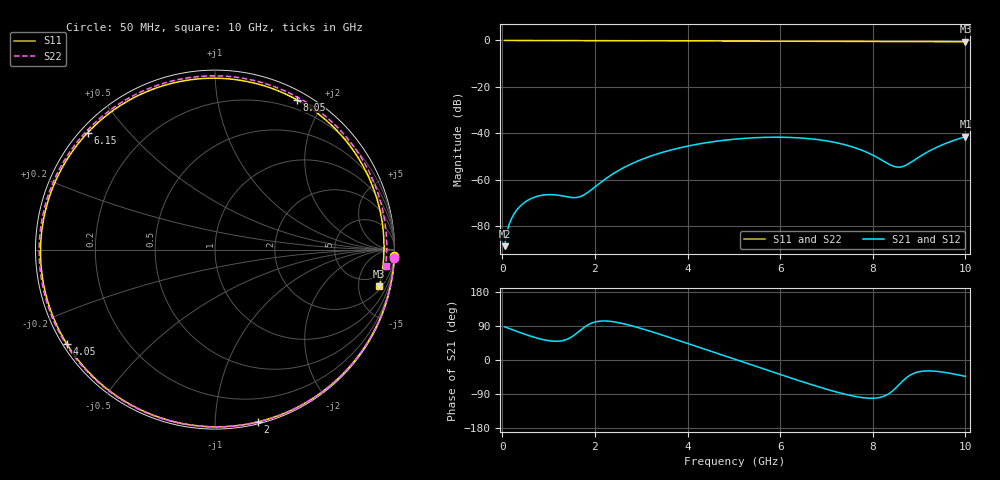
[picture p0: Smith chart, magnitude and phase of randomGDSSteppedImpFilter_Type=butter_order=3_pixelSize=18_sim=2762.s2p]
! freq	dB(S11)	phase(S11)	dB(S12)	phase(S12)
!  dB(S21)	phase(S21)	dB(S22)	phase(S22)
!S-par simulation data
#  GHz  S  DB  R 50
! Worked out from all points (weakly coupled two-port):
!   200 points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, 50 MHz to 10 GHz, reference 50 ohm
!   highest |S21| = -41.42 dB at 10 GHz (marker M1); lowest = -88.5 dB at 50 MHz (marker M2)
!   lowest |S11| = -0.6 dB at 10 GHz (marker M3), VSWR 31.30, Z = 122 - j417 ohm
!   |S11| at or under -10 dB: nowhere
!   |S22| runs from -0.4 to 0.0 dB; largest |S21 - S12| = 0
!   S11 on the Smith chart (normalised r, x): 50 MHz: 0, -58; 2 GHz: 0.01, -1.28; 4.05 GHz: 0.01, -0.29; 6.15 GHz: 0.02, +0.39; 8.05 GHz: 0.10, +1.68; 10 GHz: 2.44, -8.34
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0.05  -0.00 -2.0  -88.53 87.7  -88.53 87.7  -0.00 -2.8
0.15  -0.01 -5.9  -79.06 83.0  -79.06 83.0  -0.01 -8.4
0.25  -0.01 -9.8  -74.77 78.4  -74.77 78.4  -0.02 -13.9
0.4  -0.02 -15.6  -71.04 71.7  -71.04 71.7  -0.03 -22.2
0.65  -0.03 -25.3  -67.80 61.4  -67.80 61.4  -0.05 -35.7
1.2  -0.06 -46.3  -66.58 49.6  -66.58 49.6  -0.08 -64.0
1.55  -0.07 -59.4  -67.65 65.3  -67.65 65.3  -0.09 -80.7
1.75  -0.08 -66.8  -66.60 84.6  -66.60 84.6  -0.10 -89.8
2  -0.09 -75.9  -63.04 100.2  -63.04 100.2  -0.11 -100.6
2.65  -0.12 -99.1  -54.44 94.8  -54.44 94.8  -0.13 -126.6
3.4  -0.16 -125.2  -48.50 67.9  -48.50 67.9  -0.15 -153.2
4.05  -0.19 -147.4  -45.27 41.7  -45.27 41.7  -0.17 -174.5
5.05  -0.25 177.8  -42.42 0.6  -42.42 0.6  -0.21 154.4
5.6  -0.29 158.0  -41.74 -22.0  -41.74 -22.0  -0.23 137.6
6.15  -0.33 137.5  -41.70 -44.3  -41.70 -44.3  -0.25 120.6
6.7  -0.36 116.1  -42.42 -65.9  -42.42 -65.9  -0.27 103.3
7.4  -0.40 88.0  -44.89 -90.3  -44.89 -90.3  -0.29 80.7
8.05  -0.43 61.5  -49.88 -100.6  -49.88 -100.6  -0.31 59.2
8.35  -0.45 49.3  -53.27 -88.7  -53.27 -88.7  -0.31 49.2
8.65  -0.46 37.3  -54.23 -55.0  -54.23 -55.0  -0.32 39.1
9.3  -0.50 12.3  -46.75 -29.1  -46.75 -29.1  -0.35 17.4
10  -0.56 -12.6  -41.42 -43.3  -41.42 -43.3  -0.40 -5.6
